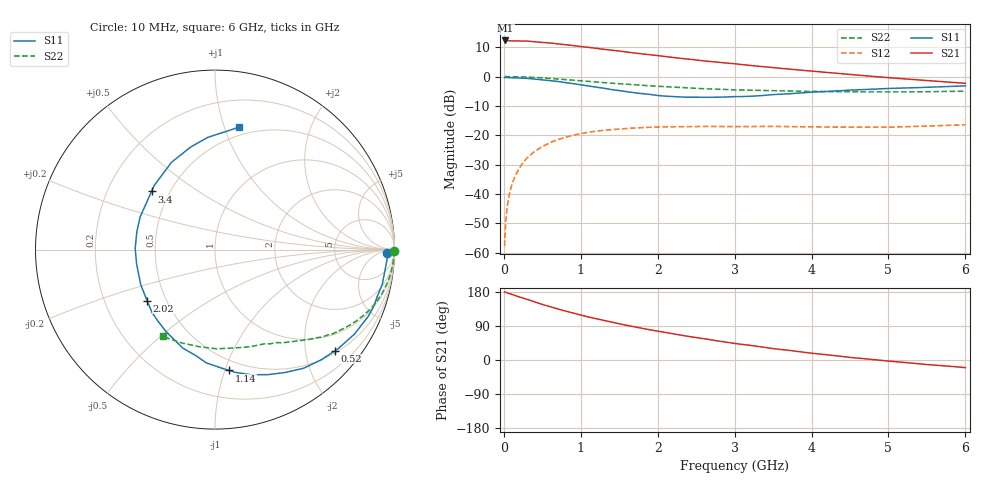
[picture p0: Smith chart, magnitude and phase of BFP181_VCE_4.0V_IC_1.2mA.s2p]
! Infineon Technologies  Discrete & RF Semiconductors
! BFP181
! VCE = 4.0 V,  IC =  1.2 mA
! Common Emitter S-Parameters:  Jan 2016
# GHz  S  MA  R  50
!  f  S11  S21  S12  S22
! GHz  MAG  ANG  MAG  ANG  MAG  ANG  MAG  ANG
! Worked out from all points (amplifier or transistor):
!   210 points, 10 MHz to 6 GHz, reference 50 ohm
!   highest |S21| = 12.3 dB at 20 MHz (marker M1)
!   |S21| within 3 dB of that: start of sweep to 1.296 GHz
!   unconditionally stable (mu >= 1): 2.922 GHz to end of sweep
!   at 185 MHz: K = 0.08, MSG = 22.0 dB, |S12| = -31.9 dB
!   at 1.52 GHz: K = 0.56, MSG = 13.2 dB, |S12| = -17.8 dB
!   at 6 GHz: K = 1.23, MAG = 4.2 dB, |S12| = -16.4 dB
!   S11 on the Smith chart (normalised r, x): 10 MHz: 40, -16; 520 MHz: 0.55, -2.64; 1.14 GHz: 0.41, -1.03; 2.02 GHz: 0.39, -0.29; 3.4 GHz: 0.40, +0.33; 6 GHz: 0.43, +1.12
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0.01  0.9582 -1.0  4.077 179.5  0.0013 92.2  0.9985 -0.4
0.02  0.9639 -1.7  4.109 179.2  0.0027 88.9  0.9981 -0.7
0.04  0.9606 -3.1  4.085 177.5  0.0055 90.7  0.997 -1.5
0.065  0.9569 -5.0  4.062 175.6  0.009 87.5  0.9962 -2.4
0.155  0.9505 -12.3  4.036 169.5  0.0214 81.5  0.9911 -5.7
0.3  0.9313 -23.5  4.011 160.3  0.0409 75.2  0.9786 -10.8
0.4  0.9089 -31.1  3.914 153.2  0.0529 70.0  0.9648 -14.2
0.52  0.8744 -40.1  3.787 145.5  0.0663 64.1  0.9445 -18.0
0.6  0.853 -46.0  3.738 140.7  0.0748 60.5  0.9297 -20.6
0.8  0.7888 -60.2  3.501 129.1  0.0924 52.2  0.8882 -26.1
1.02  0.7179 -75.3  3.209 117.7  0.1079 44.5  0.8419 -31.3
1.14  0.6778 -83.4  3.091 111.6  0.1148 40.5  0.8187 -34.0
1.52  0.5718 -109.3  2.698 94.5  0.1286 30.5  0.7488 -41.0
1.8  0.5105 -128.3  2.427 83.2  0.1353 24.8  0.7087 -45.3
2.02  0.4731 -143.1  2.251 75.2  0.1388 21.0  0.6808 -48.4
2.4  0.445 -168.6  1.982 62.3  0.1414 15.1  0.6417 -54.0
2.8  0.4468 167.1  1.746 49.6  0.142 10.8  0.6091 -59.5
3.1  0.4566 151.4  1.595 41.3  0.1408 8.4  0.5885 -63.9
3.4  0.4795 137.5  1.458 33.1  0.1414 6.4  0.5784 -68.4
4.1  0.5496 113.8  1.207 15.9  0.1386 3.6  0.5558 -81.0
5.1  0.6315 92.0  0.935 -4.6  0.1384 3.2  0.5475 -101.5
6  0.694 79.0  0.767 -20.1  0.1512 4.2  0.5646 -121.0
